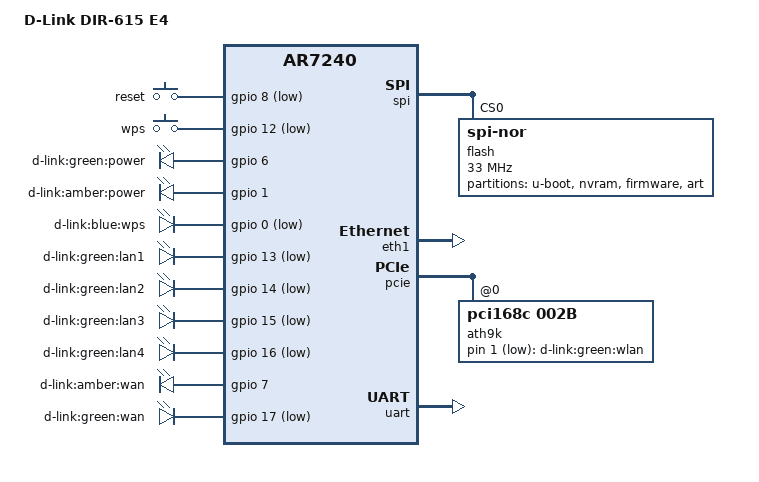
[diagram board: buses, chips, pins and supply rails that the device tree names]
// SPDX-License-Identifier: GPL-2.0-or-later OR MIT

#include "ar7240.dtsi"

#include <dt-bindings/gpio/gpio.h>
#include <dt-bindings/input/input.h>

/ {
	model = "D-Link DIR-615 E4";
	compatible = "dlink,dir-615-e4", "qca,ar7240";

	aliases {
		led-boot = &led_power_amber;
		led-failsafe = &led_power_amber;
		led-running = &led_power_green;
		led-upgrade = &led_power_amber;
	};

	keys {
		compatible = "gpio-keys";

		reset {
			label = "reset";
			linux,code = <KEY_RESTART>;
			gpios = <&gpio 8 GPIO_ACTIVE_LOW>;
			debounce-interval = <60>;
		};

		wps {
			label = "wps";
			linux,code = <KEY_WPS_BUTTON>;
			gpios = <&gpio 12 GPIO_ACTIVE_LOW>;
			debounce-interval = <60>;
		};
	};

	leds {
		compatible = "gpio-leds";
		pinctrl-names = "default";
		pinctrl-0 = <&switch_led_pins>;

		led_power_green: power_green {
			label = "d-link:green:power";
			gpios = <&gpio 6 GPIO_ACTIVE_HIGH>;
		};

		led_power_amber: power_amber {
			label = "d-link:amber:power";
			gpios = <&gpio 1 GPIO_ACTIVE_HIGH>;
		};

		wps {
			label = "d-link:blue:wps";
			gpios = <&gpio 0 GPIO_ACTIVE_LOW>;
		};

		lan1 {
			label = "d-link:green:lan1";
			gpios = <&gpio 13 GPIO_ACTIVE_LOW>;
		};

		lan2 {
			label = "d-link:green:lan2";
			gpios = <&gpio 14 GPIO_ACTIVE_LOW>;
		};

		lan3 {
			label = "d-link:green:lan3";
			gpios = <&gpio 15 GPIO_ACTIVE_LOW>;
		};

		lan4 {
			label = "d-link:green:lan4";
			gpios = <&gpio 16 GPIO_ACTIVE_LOW>;
		};

		wan_amber {
			label = "d-link:amber:wan";
			gpios = <&gpio 7 GPIO_ACTIVE_HIGH>;
		};

		wan_green {
			label = "d-link:green:wan";
			gpios = <&gpio 17 GPIO_ACTIVE_LOW>;
		};
	};

	ath9k-leds {
		compatible = "gpio-leds";

		wlan {
			label = "d-link:green:wlan";
			gpios = <&ath9k 1 GPIO_ACTIVE_LOW>;
			linux,default-trigger = "phy0tpt";
		};
	};
};

&spi {
	status = "okay";

	num-cs = <1>;

	flash@0 {
		compatible = "jedec,spi-nor";
		reg = <0>;
		spi-max-frequency = <33000000>;

		partitions {
			compatible = "fixed-partitions";
			#address-cells = <1>;
			#size-cells = <1>;

			partition@0 {
				reg = <0x0 0x30000>;
				label = "u-boot";
				read-only;
			};

			partition@30000 {
				reg = <0x30000 0x10000>;
				label = "nvram";
				read-only;
			};

			partition@40000 {
				compatible = "denx,uimage";
				reg = <0x40000 0x3b0000>;
				label = "firmware";
			};

			partition@3f0000 {
				reg = <0x3f0000 0x10000>;
				label = "art";
				read-only;
			};
		};
	};
};

&eth1 {
	status = "okay";
};

&pcie {
	status = "okay";

	ath9k: wifi@0,0 {
		compatible = "pci168c,002b";
		reg = <0x0000 0 0 0 0>;
		qca,no-eeprom;
		#gpio-cells = <2>;
		gpio-controller;
	};
};

&pinmux {
	switch_led_pins: pinmux_switch_led_pins {
		pinctrl-single,bits = <0x0 0x0 0xf8>;
	};
};

&uart {
	status = "okay";
};
